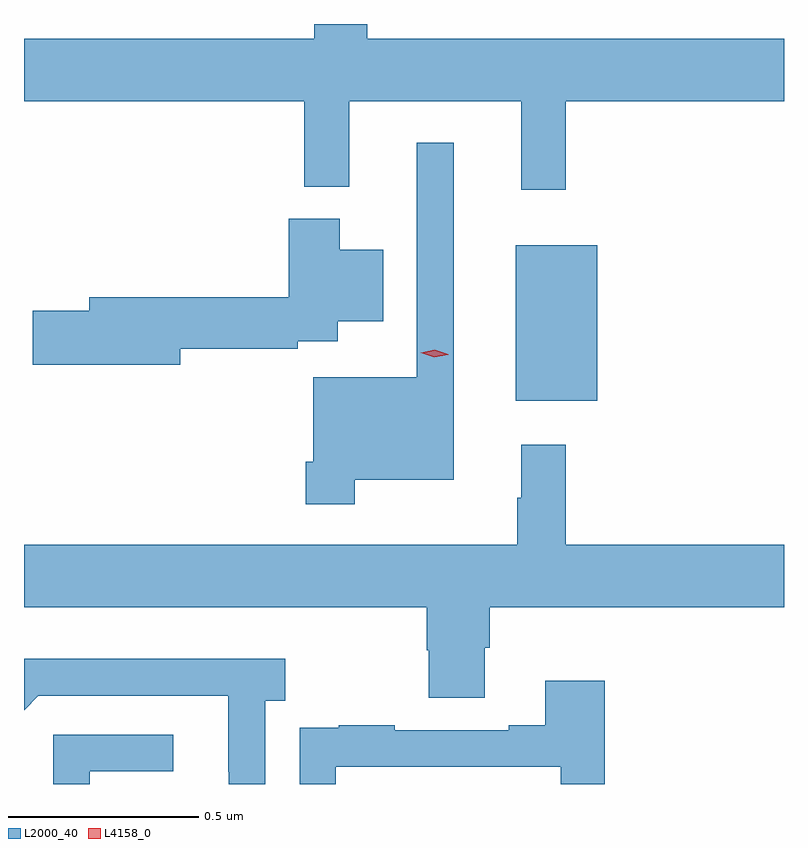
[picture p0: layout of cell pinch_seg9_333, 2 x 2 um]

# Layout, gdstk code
import gdstk
lib = gdstk.Library(unit=1e-6, precision=1e-09)
def R(c, l, rs):  # rectangles x0, y0, x1, y1
    for r in rs: c.add(gdstk.rectangle(r[:2], r[2:], *l))
def P(c, l, *ps):  # polygons
    for p in ps: c.add(gdstk.Polygon(p, *l))
L2000_40 = (2000, 40)
L4158_0 = (4158, 0)

pinch_seg9_333 = lib.new_cell('pinch_seg9_333')
R(pinch_seg9_333, L2000_40, [(639.689,1178.315,639.904,1178.725)])
P(pinch_seg9_333, L2000_40, [(639.821,1179.104),(640.395,1179.104),(640.395,1179.268),(639.298,1179.268),(639.298,1179.307),(639.159,1179.307),(639.159,1179.268),(638.395,1179.268),(638.395,1179.104),(639.133,1179.104),(639.133,1178.879),(639.251,1178.879),(639.251,1179.104),(639.704,1179.104),(639.704,1178.871),(639.821,1178.871)],
  [(639.265,1178.108),(639.526,1178.108),(639.526,1178.995),(639.429,1178.995),(639.429,1178.377),(639.156,1178.377),(639.156,1178.155),(639.136,1178.155),(639.136,1178.043),(639.265,1178.043)],
  [(638.806,1178.452),(639.116,1178.452),(639.116,1178.472),(639.22,1178.472),(639.22,1178.525),(639.34,1178.525),(639.34,1178.713),(639.226,1178.713),(639.226,1178.794),(639.092,1178.794),(639.092,1178.588),(638.567,1178.588),(638.567,1178.552),(638.418,1178.552),(638.418,1178.41),(638.806,1178.41)],
  [(639.607,1177.666),(639.62,1177.666),(639.62,1177.772),(640.395,1177.772),(640.395,1177.936),(639.821,1177.936),(639.821,1178.2),(639.704,1178.2),(639.704,1178.06),(639.693,1178.06),(639.693,1177.936),(638.395,1177.936),(638.395,1177.772),(639.455,1177.772),(639.455,1177.659),(639.46,1177.659),(639.46,1177.534),(639.607,1177.534)],
  [(639.03,1177.526),(639.082,1177.526),(639.082,1177.636),(638.395,1177.636),(638.395,1177.501),(638.433,1177.539),(638.933,1177.539),(638.933,1177.339),(638.934,1177.339),(638.934,1177.307),(639.03,1177.307)],
  [(639.216,1177.353),(639.807,1177.353),(639.807,1177.307),(639.923,1177.307),(639.923,1177.579),(639.767,1177.579),(639.767,1177.462),(639.671,1177.462),(639.671,1177.449),(639.371,1177.449),(639.371,1177.462),(639.223,1177.462),(639.223,1177.455),(639.121,1177.455),(639.121,1177.346),(639.12,1177.346),(639.12,1177.307),(639.216,1177.307)],
  [(638.568,1177.341),(638.788,1177.341),(638.788,1177.437),(638.472,1177.437),(638.472,1177.307),(638.568,1177.307)])
P(pinch_seg9_333, L4158_0, [(639.475,1178.43),(639.439,1178.442),(639.439,1178.442),(639.439,1178.442),(639.476,1178.45),(639.511,1178.438),(639.511,1178.438),(639.511,1178.437)])

lib.write_gds('pinch_seg9_333.gds')
